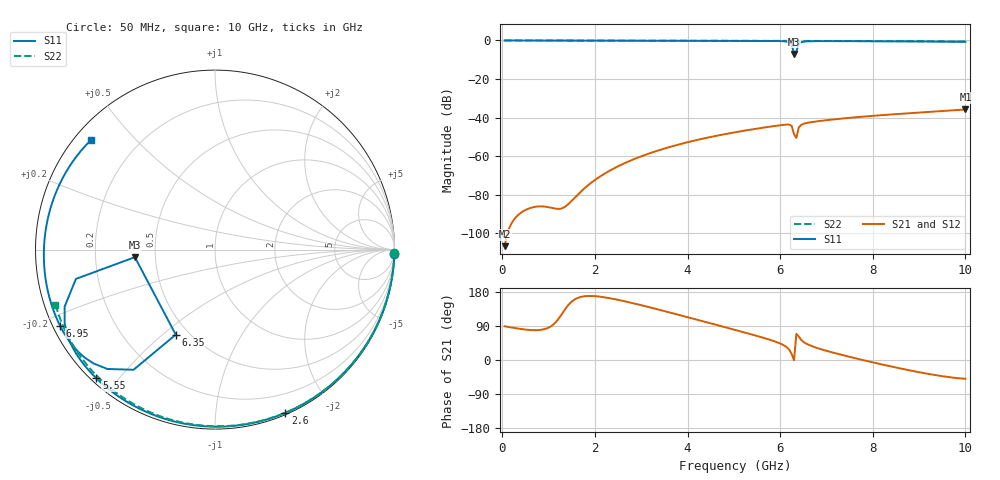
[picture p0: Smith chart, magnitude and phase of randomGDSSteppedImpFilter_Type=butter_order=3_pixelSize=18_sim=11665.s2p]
! freq	dB(S11)	phase(S11)	dB(S12)	phase(S12)
!  dB(S21)	phase(S21)	dB(S22)	phase(S22)
!S-par simulation data
#  GHz  S  DB  R 50
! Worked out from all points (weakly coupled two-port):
!   200 points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, 50 MHz to 10 GHz, reference 50 ohm
!   highest |S21| = -35.78 dB at 10 GHz (marker M1); lowest = -106.7 dB at 50 MHz (marker M2)
!   lowest |S11| = -7.0 dB at 6.3 GHz (marker M3), VSWR 2.63, Z = 19.1 - j2.02 ohm
!   |S11| at or under -10 dB: nowhere
!   |S22| runs from -0.5 to 0.0 dB; largest |S21 - S12| = 0
!   S11 on the Smith chart (normalised r, x): 50 MHz: 0, -85; 2.6 GHz: 0.02, -1.52; 5.55 GHz: 0.01, -0.44; 6.35 GHz: 0.43, -0.55; 6.95 GHz: 0.02, -0.23; 10 GHz: 0.05, +0.38
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0.05  -0.00 -1.3  -106.69 88.9  -106.69 88.9  -0.00 -0.9
0.8  -0.03 -21.3  -86.07 79.1  -86.07 79.1  -0.02 -15.0
1.6  -0.05 -42.0  -80.67 162.2  -80.67 162.2  -0.04 -29.8
1.75  -0.06 -45.8  -77.20 167.8  -77.20 167.8  -0.04 -32.5
2.15  -0.07 -55.7  -69.95 166.4  -69.95 166.4  -0.05 -39.7
2.6  -0.08 -66.6  -64.11 156.1  -64.11 156.1  -0.06 -47.7
3.4  -0.11 -85.3  -56.80 132.2  -56.80 132.2  -0.08 -61.5
4.2  -0.14 -103.1  -51.64 106.5  -51.64 106.5  -0.11 -74.8
5.05  -0.18 -121.5  -47.52 78.7  -47.52 78.7  -0.14 -88.4
5.55  -0.22 -132.7  -45.54 61.7  -45.54 61.7  -0.16 -96.2
6  -0.33 -145.5  -43.98 43.5  -43.98 43.5  -0.18 -103.0
6.2  -0.96 -159.2  -43.70 26.4  -43.70 26.4  -0.19 -106.0
6.25  -2.03 -168.1  -44.37 15.4  -44.37 15.4  -0.19 -106.8
6.3  -6.97 -174.6  -48.64 -0.7  -48.64 -0.7  -0.20 -107.5
6.35  -5.65 -114.8  -50.54 69.0  -50.54 69.0  -0.20 -108.3
6.4  -1.84 -124.1  -45.25 62.3  -45.25 62.3  -0.20 -109.0
6.45  -0.96 -132.1  -43.89 53.7  -43.89 53.7  -0.21 -109.7
6.7  -0.38 -146.7  -42.26 35.8  -42.26 35.8  -0.22 -113.4
6.95  -0.34 -153.9  -41.49 26.0  -41.49 26.0  -0.24 -117.1
8.35  -0.44 176.0  -38.47 -15.9  -38.47 -15.9  -0.35 -137.3
9.2  -0.54 157.6  -37.11 -36.7  -37.11 -36.7  -0.44 -149.4
10  -0.71 138.5  -35.78 -49.6  -35.78 -49.6  -0.54 -161.0
